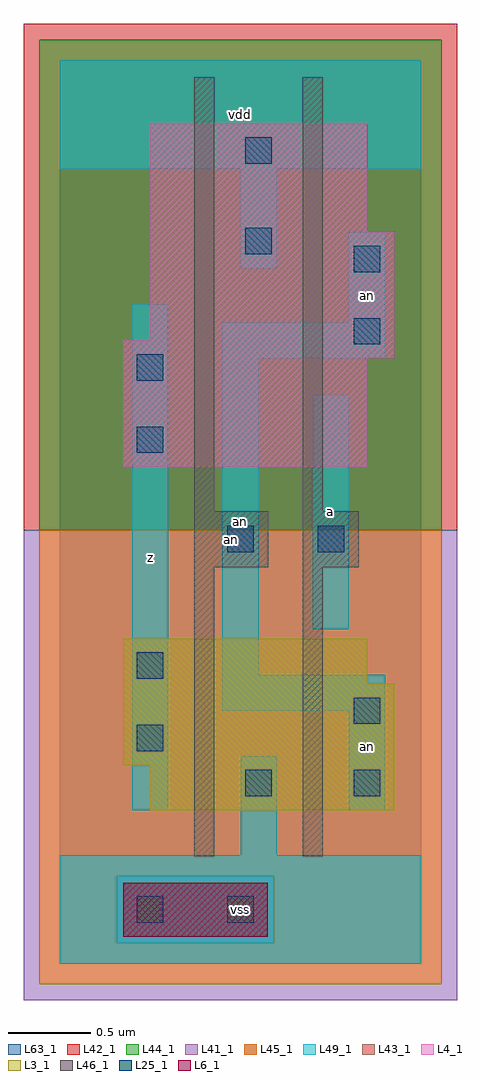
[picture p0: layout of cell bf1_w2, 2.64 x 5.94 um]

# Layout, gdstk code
import gdstk
lib = gdstk.Library(unit=1e-6, precision=1e-09)
def R(c, l, rs):  # rectangles x0, y0, x1, y1
    for r in rs: c.add(gdstk.rectangle(r[:2], r[2:], *l))
L3_1 = (3, 1)
L4_1 = (4, 1)
L6_1 = (6, 1)
L25_1 = (25, 1)
L41_1 = (41, 1)
L42_1 = (42, 1)
L43_1 = (43, 1)
L44_1 = (44, 1)
L45_1 = (45, 1)
L46_1 = (46, 1)
L49_1 = (49, 1)
L63_1 = (63, 1)

bf1_w2 = lib.new_cell('bf1_w2')
R(bf1_w2, L3_1, [(0.55,0.935,2.035,1.21), (0.385,1.21,2.035,1.705), (0.385,1.705,1.87,1.98)])
R(bf1_w2, L4_1, [(0.385,3.025,1.87,3.685), (0.385,3.685,2.035,3.795), (0.55,3.795,2.035,4.455), (0.55,4.455,1.87,5.115)])
R(bf1_w2, L6_1, [(0.385,0.165,1.265,0.495)])
R(bf1_w2, L25_1, [(0.47,0.25,0.63,0.41), (1.02,0.25,1.18,0.41), (1.13,1.02,1.29,1.18), (1.79,1.02,1.95,1.18), (0.47,1.295,0.63,1.455), (1.79,1.46,1.95,1.62), (0.47,1.735,0.63,1.895), (1.02,2.505,1.18,2.665), (1.57,2.505,1.73,2.665), (0.47,3.11,0.63,3.27), (0.47,3.55,0.63,3.71), (1.79,3.77,1.95,3.93), (1.79,4.21,1.95,4.37), (1.13,4.32,1.29,4.48), (1.13,4.87,1.29,5.03)])
R(bf1_w2, L41_1, [(-0.22,-0.22,2.42,2.64)])
R(bf1_w2, L42_1, [(-0.22,2.64,2.42,5.72)])
R(bf1_w2, L43_1, [(0.385,0.165,1.265,0.495), (0.55,0.935,2.035,1.21), (0.385,1.21,2.035,1.705), (0.385,1.705,1.87,1.98), (0.385,3.025,1.87,3.685), (0.385,3.685,2.035,3.795), (0.55,3.795,2.035,4.455), (0.55,4.455,1.87,5.115)])
R(bf1_w2, L44_1, [(0.345,0.125,1.305,0.535), (-0.125,2.64,2.325,5.625)])
R(bf1_w2, L45_1, [(-0.125,-0.125,2.325,0.125), (-0.125,0.125,0.345,0.535), (1.305,0.125,2.325,0.535), (-0.125,0.535,2.325,2.64)])
R(bf1_w2, L46_1, [(0.82,0.655,0.94,2.415), (1.48,0.655,1.6,2.415), (0.82,2.415,1.27,2.755), (1.48,2.415,1.82,2.755), (0.82,2.755,0.94,5.395), (1.48,2.755,1.6,5.395)])
R(bf1_w2, L49_1, [(0,0,2.2,0.66), (1.1,0.66,1.32,1.265), (0.44,0.935,0.66,4.015), (1.76,0.935,1.98,1.54), (0.99,1.54,1.98,1.76), (0.99,1.76,1.21,3.685), (1.54,2.035,1.76,3.465), (0.99,3.685,1.98,3.905), (1.76,3.905,1.98,4.455), (1.1,4.235,1.32,4.84), (0,4.84,2.2,5.5)])
R(bf1_w2, L63_1, [(0,0,2.2,5.5)])
bf1_w2.add(gdstk.Label('an', (1.045,2.585), layer=49, texttype=1))
bf1_w2.add(gdstk.Label('z', (0.55,2.475), layer=49, texttype=1))
bf1_w2.add(gdstk.Label('vss', (1.1,0.33), layer=49, texttype=1))
bf1_w2.add(gdstk.Label('an', (1.1,2.695), layer=49, texttype=1))
bf1_w2.add(gdstk.Label('vdd', (1.1,5.17), layer=49, texttype=1))
bf1_w2.add(gdstk.Label('an', (1.87,1.32), layer=49, texttype=1))
bf1_w2.add(gdstk.Label('a', (1.65,2.75), layer=49, texttype=1))
bf1_w2.add(gdstk.Label('an', (1.87,4.07), layer=49, texttype=1))

lib.write_gds('bf1_w2.gds')
